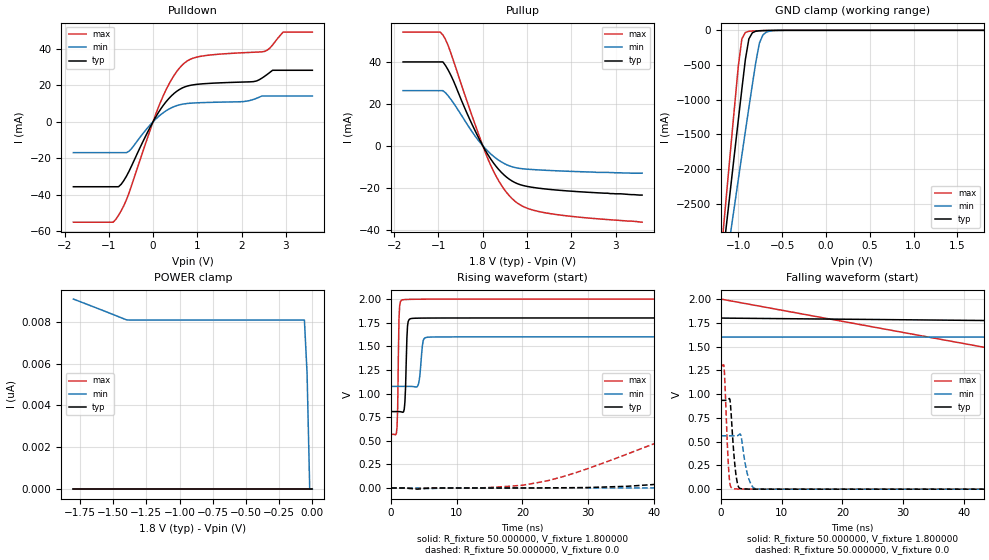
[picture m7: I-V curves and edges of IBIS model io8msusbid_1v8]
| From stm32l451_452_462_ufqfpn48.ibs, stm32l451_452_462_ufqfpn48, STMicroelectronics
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|   Model io8msusbid_1v8
[Model]  io8msusbid_1v8
Model_type I/O
Polarity   Non-Inverting
Enable   Active-Low
Vinl =   0.540000V
Vinh =   1.260000V
Vmeas =  0.900000V
Cref =   100.000000nF
Rref =   1.000000k
Vref =   1.800000V
C_comp   2.022300pF   2.021100pF   2.049600pF
[Temperature Range]   25.000000   0.125000k   -40.000000
[Pullup Reference]   1.800000V   1.600000V   2.000000V
[Pulldown Reference]   0.0V   0.0V   0.0V
[POWER Clamp Reference]   1.800000V   1.600000V   2.000000V
[GND Clamp Reference]   0.0V   0.0V   0.0V
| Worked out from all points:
|   slope of the pulldown table from 0 to 0.27 V, typ, clamps not added: 26.4 ohm
|   slope of the pullup table from 0 to 0.27 V, typ, clamps not added: 30.1 ohm
|   GND clamp passes 1 mA (typ) near -0.60 V on its own axis
|   rising waveform, R_fixture 50.000000, V_fixture 1.800000: 20-80 % time 251ps typ, 397ps min, 180ps max; typ from 0.809 V to 1.8 V
|   rising waveform, R_fixture 50.000000, V_fixture 0.0: 20-80 % time 65.1ns typ, 114ns min, 35.5ns max; typ from 0 V to 0.934 V
|   falling waveform, R_fixture 50.000000, V_fixture 1.800000: 20-80 % time 75.9ns typ, 121ns min, 62.9ns max; typ from 1.8 V to 0.809 V
|   falling waveform, R_fixture 50.000000, V_fixture 0.0: 20-80 % time 682ps typ, 987ps min, 518ps max; typ from 0.934 V to 0 V
[Pulldown]
|Voltage   I(typ)   I(min)   I(max)
-1.8V     -35.64mA   -16.93mA   -55.1mA
-840mV    -35.64mA   -16.93mA   -53.52mA
-720mV    -34.31mA   -16.93mA   -48.86mA
-540mV    -27.04mA   -16.13mA   -38.89mA
240mV     9.303mA    5.14mA     14.78mA
480mV     15.67mA    8.374mA    25.64mA
720mV     19.18mA    9.883mA    32.46mA
1.14V     20.87mA    10.54mA    36.19mA
2.28V     22.08mA    12.35mA    38.18mA
2.52V     24.96mA    14.16mA    38.63mA
2.94V     28.27mA    14.16mA    49.23mA
3.6V      28.27mA    14.16mA    49.23mA
[Pullup]
|Voltage   I(typ)   I(min)   I(max)
-1.8V     39.84mA    26.17mA    54.03mA
-960mV    39.84mA    26.17mA    54.03mA
-900mV    39.84mA    26.17mA    52.65mA
-780mV    35.95mA    23.7mA     47.58mA
-240mV    10.08mA    6.588mA    14.1mA
120mV     -4.38mA    -2.702mA   -6.45mA
240mV     -8.143mA   -5.004mA   -12mA
420mV     -12.68mA   -7.723mA   -18.77mA
720mV     -17.48mA   -10.37mA   -26.28mA
1.02V     -19.45mA   -11.2mA    -29.89mA
1.5V      -20.78mA   -11.79mA   -32.25mA
3.6V      -23.5mA    -13.1mA    -36.4mA
[GND_clamp]
|Voltage   I(typ)   I(min)   I(max)
-1.8V     -9.895A    -9.296A    -9.457A
-1.2V     -3.533A    -3.902A    -3.274A
-1.16V    -3.082A    -3.55A     -2.716A
-1.12V    -2.631A    -3.198A    -2.159A
-1.08V    -2.182A    -2.848A    -1.604A
-1V       -1.289A    -2.15A     -512mA
-960mV    -849.4mA   -1.803A    -123.8mA
-920mV    -422.4mA   -1.459A    -30.79mA
-880mV    -123.7mA   -1.118A    -13.63mA
-760mV    -6.32mA    -185mA     -5.692mA
-680mV    -2.569mA   -25.43mA   -2.907mA
1.8V      0A         0A         0A
[POWER_clamp]
|Voltage   I(typ)   I(min)   I(max)
-1.8V     0A         9.088nA    0A
-1.4V     0A         8.095nA    0A
-60mV     0A         8.084nA    0A
-40mV     0A         5.54nA     0A
-20mV     0A         0A         0A
0V        0A         0A         0A
[Ramp]
| variable   typ   min   max
dV/dt_r  0.56065/64.96581n   0.33685/0.11408u   0.77868/35.44838n
dV/dt_f  0.59474/66.70595n   0.31470/0.11610u   0.85906/34.89439n
R_load = 50.000000
[Rising Waveform]
R_fixture= 50.000000
V_fixture= 1.800000
V_fixture_min= 1.600000
V_fixture_max= 2.000000
|time   V(typ)   V(min)   V(max)
0s        808.7mV    1.076V     568.3mV
900.9ps   808.8mV    1.076V     643.9mV
1.201ns   808.7mV    1.076V     1.796V
1.602ns   805mV      1.076V     1.989V
2.102ns   909.9mV    1.076V     1.995V
2.503ns   1.717V     1.076V     1.996V
3.003ns   1.793V     1.075V     1.997V
4.104ns   1.798V     1.087V     1.998V
5.506ns   1.799V     1.595V     1.999V
49.85ns   1.8V       1.6V       2V
[Rising Waveform]
R_fixture= 50.000000
V_fixture= 0.0
V_fixture_min= 0.0
V_fixture_max= 0.0
|time   V(typ)   V(min)   V(max)
0s        2.538nV    69.02nV    1.89nV
14.01ns   -69.2uV    -37.73uV   2.176mV
24.02ns   1.56mV     -18.61uV   80.34mV
54.05ns   144.4mV    5.752mV    807.2mV
72.07ns   335.9mV    25.13mV    1.091V
88.09ns   501.4mV    60.15mV    1.208V
116.1ns   710.2mV    154.8mV    1.273V
176.2ns   892.2mV    355.2mV    1.295V
306.3ns   932.8mV    531.3mV    1.298V
997ns     934.4mV    561.5mV    1.298V
[Falling Waveform]
R_fixture= 50.000000
V_fixture= 1.800000
V_fixture_min= 1.600000
V_fixture_max= 2.000000
|time   V(typ)   V(min)   V(max)
0s        1.8V       1.6V       2V
50.05ns   1.77V      1.6V       1.414V
100.1ns   1.343V     1.568V     664.1mV
150.2ns   974mV      1.436V     590.2mV
200.2ns   869mV      1.276V     574.5mV
250.2ns   834.2mV    1.178V     569.8mV
300.3ns   820.1mV    1.132V     568.8mV
400.4ns   810.6mV    1.095V     568.3mV
500.5ns   809.2mV    1.082V     568.3mV
4.955us   808.7mV    1.076V     568.3mV
[Falling Waveform]
R_fixture= 50.000000
V_fixture= 0.0
V_fixture_min= 0.0
V_fixture_max= 0.0
|time   V(typ)   V(min)   V(max)
0s        934.4mV    561.5mV    1.298V
500.5ps   934.4mV    561.5mV    1.304V
1.301ns   945.9mV    561.5mV    194mV
1.502ns   942.7mV    561.5mV    55.41mV
1.902ns   586.5mV    561.4mV    8.471mV
2.503ns   145.6mV    560.8mV    2.359mV
3.303ns   5.347mV    564.8mV    1.106mV
4.404ns   831.7uV    151.6mV    678.6uV
5.706ns   249.7uV    4.111mV    436.1uV
49.85ns   2.538nV    69.02nV    1.89nV
